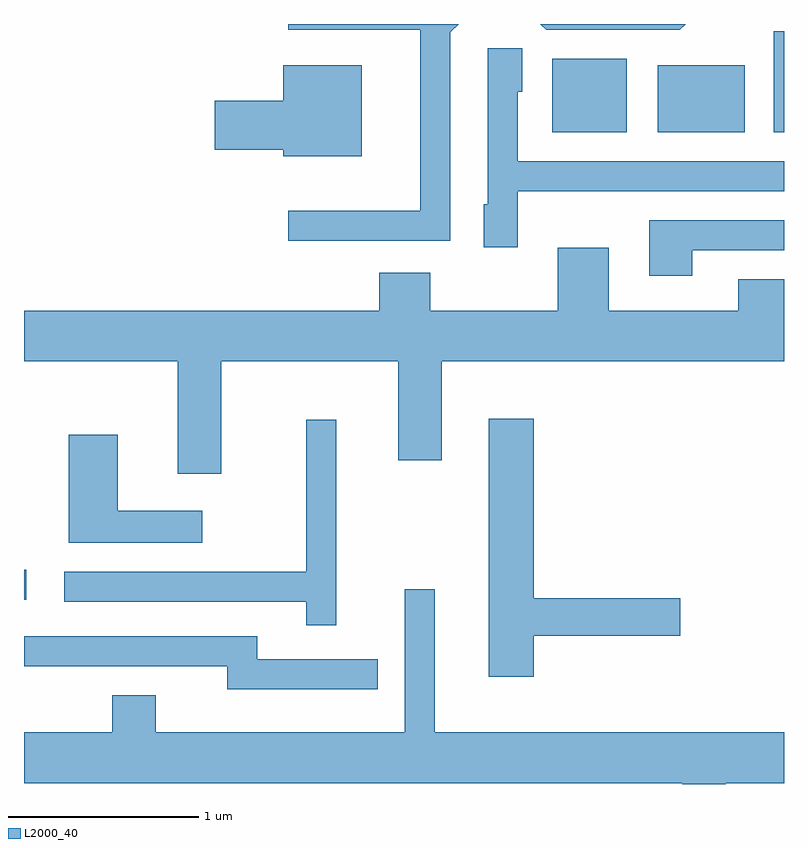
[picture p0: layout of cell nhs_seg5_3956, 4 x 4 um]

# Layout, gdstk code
import gdstk
lib = gdstk.Library(unit=1e-6, precision=1e-09)
def R(c, l, rs):  # rectangles x0, y0, x1, y1
    for r in rs: c.add(gdstk.rectangle(r[:2], r[2:], *l))
def P(c, l, *ps):  # polygons
    for p in ps: c.add(gdstk.Polygon(p, *l))
L2000_40 = (2000, 40)

nhs_seg5_3956 = lib.new_cell('nhs_seg5_3956')
R(nhs_seg5_3956, L2000_40, [(301.611,1511.041,301.623,1511.199), (304.391,1513.501,304.784,1513.889), (304.946,1513.501,305.404,1513.854), (305.556,1513.501,305.611,1514.033)])
P(nhs_seg5_3956, L2000_40, [(305.093,1514.072),(304.328,1514.072),(304.359,1514.041),(305.062,1514.041)],
  [(303.854,1514.029),(303.898,1514.072),(303.003,1514.072),(303.003,1514.041),(303.696,1514.041),(303.696,1513.089),(303.003,1513.089),(303.003,1512.931),(303.854,1512.931)],
  [(304.209,1513.191),(305.611,1513.191),(305.611,1513.349),(304.209,1513.349),(304.209,1513.716),(304.234,1513.716),(304.234,1513.944),(304.051,1513.944),(304.051,1513.124),(304.031,1513.124),(304.031,1512.896),(304.209,1512.896)],
  [(303.389,1513.854),(302.976,1513.854),(302.976,1513.669),(302.616,1513.669),(302.616,1513.411),(302.976,1513.411),(302.976,1513.376),(303.389,1513.376)],
  [(305.129,1512.881),(305.611,1512.881),(305.611,1513.039),(304.901,1513.039),(304.901,1512.746),(305.129,1512.746)],
  [(302.649,1512.296),(303.581,1512.296),(303.581,1511.776),(303.809,1511.776),(303.809,1512.296),(305.611,1512.296),(305.611,1512.729),(305.371,1512.729),(305.371,1512.564),(304.689,1512.564),(304.689,1512.894),(304.421,1512.894),(304.421,1512.564),(303.749,1512.564),(303.749,1512.764),(303.481,1512.764),(303.481,1512.564),(301.611,1512.564),(301.611,1512.296),(302.421,1512.296),(302.421,1511.706),(302.649,1511.706)],
  [(304.294,1510.851),(305.064,1510.851),(305.064,1511.049),(304.294,1511.049),(304.294,1511.994),(304.056,1511.994),(304.056,1510.636),(304.294,1510.636)],
  [(303.254,1511.988),(303.096,1511.988),(303.096,1511.189),(301.823,1511.189),(301.823,1511.031),(303.096,1511.031),(303.096,1510.908),(303.254,1510.908)],
  [(302.548,1511.509),(302.104,1511.509),(302.104,1511.909),(301.846,1511.909),(301.846,1511.341),(302.548,1511.341)],
  [(305.304,1510.076),(305.611,1510.076),(305.611,1510.344),(303.774,1510.344),(303.774,1511.098),(303.616,1511.098),(303.616,1510.344),(302.304,1510.344),(302.304,1510.539),(302.076,1510.539),(302.076,1510.344),(301.611,1510.344),(301.611,1510.076),(305.076,1510.076),(305.076,1510.072),(305.304,1510.072)],
  [(303.473,1510.729),(302.839,1510.729),(302.839,1510.849),(301.611,1510.849),(301.611,1510.691),(302.681,1510.691),(302.681,1510.571),(303.473,1510.571)])

lib.write_gds('nhs_seg5_3956.gds')
